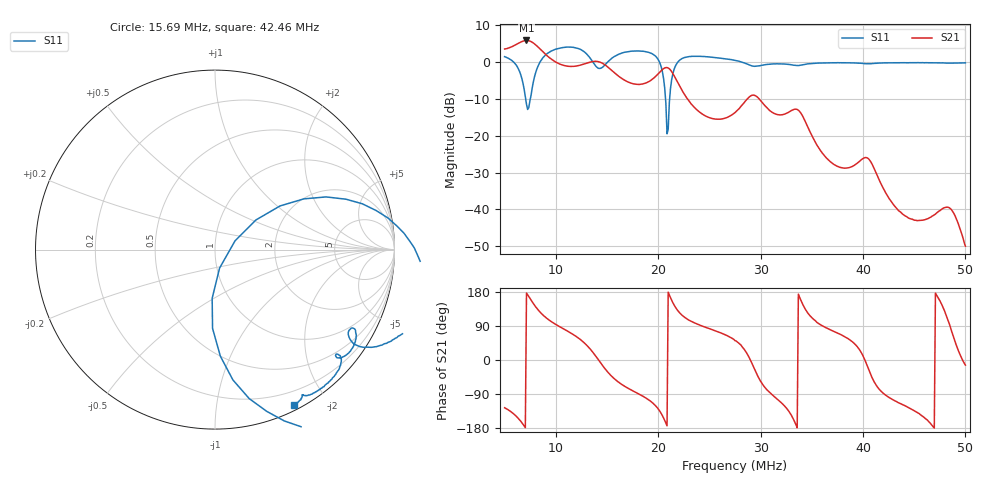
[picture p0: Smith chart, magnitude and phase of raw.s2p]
! S11/S21 only; reverse parameters are placeholders. Device calibration unverified.
! NanoVNA F V2 profile | COM3 | 2026-09-08T11:12:02.9031546-04:00 | device calibration unverified
# HZ S RI R 50
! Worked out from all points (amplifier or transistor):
!   401 points, 5 MHz to 50 MHz, reference 50 ohm
!   highest |S21| = 5.8 dB at 7.138 MHz (marker M1)
!   |S21| within 3 dB of that: start of sweep to 8.71 MHz
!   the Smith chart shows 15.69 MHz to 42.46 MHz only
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5000000  1.159 -0.2064  -0.8793 -1.21  0 0  0 0
6237500  0.6744 -0.5307  -1.539 -0.8457  0 0  0 0
7137500  0.2282 -0.1384  -1.95 0.1106  0 0  0 0
8487500  0.4828 -0.89  -0.8647 1.205  0 0  0 0
1.07375e7  -0.1884 -1.558  0.119 0.8912  0 0  0 0
1.25375e7  -1.075 -0.9628  0.5772 0.7108  0 0  0 0
1.34375e7  -1.08 0.0704  0.8948 0.4448  0 0  0 0
1.445e7  0.0776 0.8244  0.9595 -0.1735  0 0  0 0
1.535e7  0.9752 0.4708  0.6055 -0.5091  0 0  0 0
1.65875e7  1.321 -0.2015  0.2253 -0.5328  0 0  0 0
1.8725e7  1.081 -0.8589  -0.0817 -0.5067  0 0  0 0
2.0075e7  0.3861 -0.9546  -0.4714 -0.5269  0 0  0 0
2.08625e7  0.0256 -0.1029  -0.833 -0.0928  0 0  0 0
2.1425e7  0.6192 0.2935  -0.6126 0.334  0 0  0 0
2.2775e7  1.158 -0.1262  -0.1065 0.3091  0 0  0 0
2.75e7  0.9004 -0.5405  0.1287 0.1603  0 0  0 0
3.00875e7  0.78 -0.4441  0.1448 -0.2503  0 0  0 0
3.50375e7  0.6951 -0.6513  -0.0348 0.0918  0 0  0 0
4.055e7  0.4872 -0.81  0.044 -0.0203  0 0  0 0
4.2575e7  0.4359 -0.8691  -0.00229 -0.0137  0 0  0 0
4.8425e7  0.2077 -0.9399  -0.00106 0.0105  0 0  0 0
5e7  0.1625 -0.9569  0.00309 -0.000741  0 0  0 0
